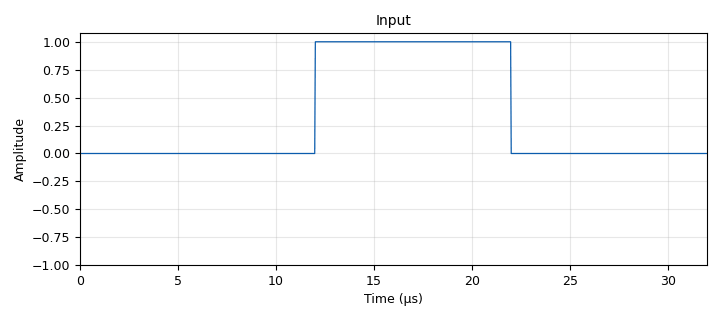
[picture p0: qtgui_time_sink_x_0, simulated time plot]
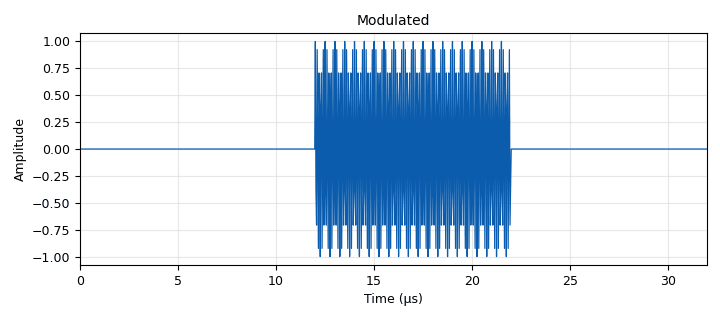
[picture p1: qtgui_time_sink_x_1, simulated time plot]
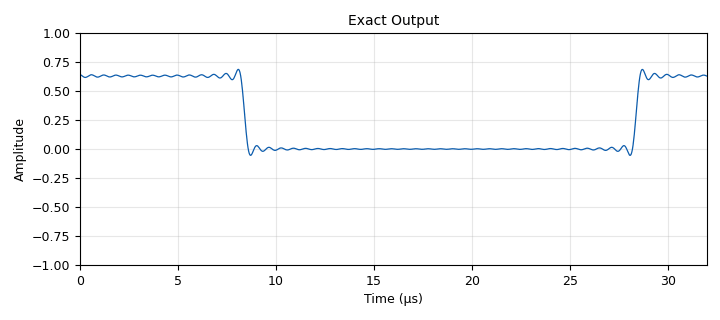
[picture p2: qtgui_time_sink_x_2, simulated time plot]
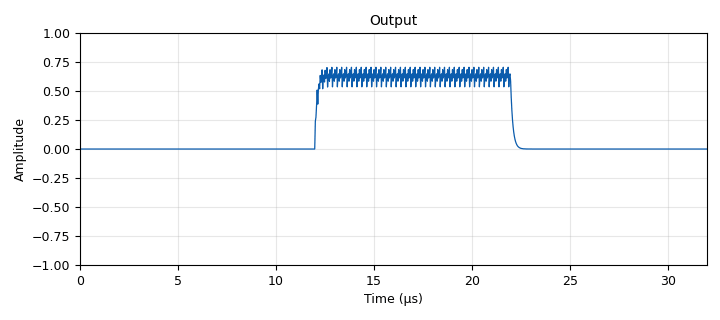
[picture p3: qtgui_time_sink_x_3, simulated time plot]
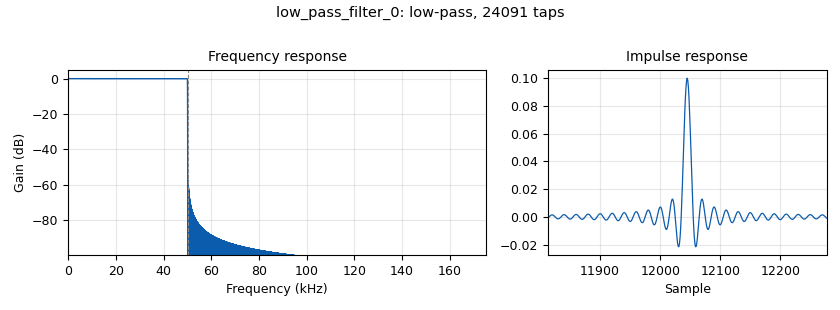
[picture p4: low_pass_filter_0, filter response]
<?xml version='1.0' encoding='utf-8'?>
<?grc format='1' created='3.7.11'?>
<flow_graph>
<block>
<key>options</key>
<param><key>id</key><value>top_block</value></param>
<param><key>category</key><value>Custom</value></param>
<param><key>generate_options</key><value>qt_gui</value></param>
</block>
<block>
<key>variable</key>
<param><key>id</key><value>samp_rate</value></param>
<param><key>value</key><value>1e6</value></param>
</block>
<block>
<key>variable</key>
<param><key>id</key><value>symbol_duration</value></param>
<param><key>value</key><value>0.1e-4</value></param>
</block>
<block>
<key>variable</key>
<param><key>id</key><value>target_freq</value></param>
<param><key>value</key><value>10e6</value></param>
</block>
<block>
<key>variable</key>
<param><key>id</key><value>target_rate</value></param>
<param><key>value</key><value>32e6</value></param>
</block>
<block>
<key>analog_sig_source_x</key>
<param><key>id</key><value>analog_sig_source_x_0</value></param>
<param><key>amp</key><value>1</value></param>
<param><key>freq</key><value>target_freq</value></param>
<param><key>offset</key><value>0</value></param>
<param><key>type</key><value>float</value></param>
<param><key>samp_rate</key><value>target_rate</value></param>
<param><key>waveform</key><value>analog.GR_COS_WAVE</value></param>
</block>
<block>
<key>blocks_multiply_xx</key>
<param><key>id</key><value>blocks_multiply_xx_0</value></param>
<param><key>type</key><value>float</value></param>
</block>
<block>
<key>blocks_repeat</key>
<param><key>id</key><value>blocks_repeat_0</value></param>
<param><key>interp</key><value>int(target_rate*symbol_duration)</value></param>
<param><key>type</key><value>float</value></param>
</block>
<block>
<key>blocks_throttle</key>
<param><key>id</key><value>blocks_throttle_2</value></param>
<param><key>samples_per_second</key><value>target_rate</value></param>
<param><key>type</key><value>float</value></param>
</block>
<block>
<key>blocks_vector_source_x</key>
<param><key>id</key><value>blocks_vector_source_x_0</value></param>
<param><key>type</key><value>float</value></param>
<param><key>repeat</key><value>True</value></param>
<param><key>vector</key><value>[0, 0, 1]</value></param>
</block>
<block>
<key>low_pass_filter</key>
<param><key>id</key><value>low_pass_filter_0</value></param>
<param><key>cutoff_freq</key><value>100000/2</value></param>
<param><key>decim</key><value>1</value></param>
<param><key>type</key><value>fir_filter_fff</value></param>
<param><key>gain</key><value>1</value></param>
<param><key>samp_rate</key><value>samp_rate</value></param>
<param><key>width</key><value>100</value></param>
<param><key>win</key><value>firdes.WIN_HAMMING</value></param>
</block>
<block>
<key>epy_block</key>
<param><key>id</key><value>lpf</value></param>
<param><key>_source_code</key><value>"""
Embedded Python Blocks:

Each time this file is saved, GRC will instantiate the first class it finds
to get ports and parameters of your block. The arguments to __init__  will
be the parameters. All of them are required to have default values!
"""

import numpy as np
from gnuradio import gr


class blk(gr.sync_block):  # other base classes are basic_block, decim_block, interp_block
    """Embedded Python Block example - a simple multiply const"""

    def __init__(self, fc=900.0, fs=32000.0):  # only default arguments here
        """arguments to this function show up as parameters in GRC"""
        gr.sync_block.__init__(
            self,
            name='Low Pass Filter',   # will show up in GRC
            in_sig=[np.float32],
            out_sig=[np.float32]
        )
        # if an attribute with the same name as a parameter is found,
        # a callback 
        self.fc = fc
        self.fs = fs

    def work(self, input_items, output_items):
        """Low Pass IIR Filter"""
        alpha = (2.0*np.pi*(self.fc/self.fs))/(2.0*np.pi*(self.fc/self.fs) + 1.0)

        output_items[0][0] = alpha*input_items[0][0]
        for i in range(1, len(output_items[0])):
            output_items[0][i] = output_items[0][i-1] + alpha*(input_items[0][i] - output_items[0][i-1])

        return len(output_items[0])
</value></param>
<param><key>fc</key><value>100000.0/2</value></param>
<param><key>fs</key><value>samp_rate</value></param>
</block>
<block>
<key>qtgui_time_sink_x</key>
<param><key>id</key><value>qtgui_time_sink_x_0</value></param>
<param><key>color1</key><value>"blue"</value></param>
<param><key>label1</key><value></value></param>
<param><key>name</key><value>Input</value></param>
<param><key>size</key><value>1024</value></param>
<param><key>srate</key><value>target_rate</value></param>
<param><key>type</key><value>float</value></param>
</block>
<block>
<key>qtgui_time_sink_x</key>
<param><key>id</key><value>qtgui_time_sink_x_1</value></param>
<param><key>color1</key><value>"blue"</value></param>
<param><key>label1</key><value></value></param>
<param><key>name</key><value>Modulated</value></param>
<param><key>size</key><value>1024</value></param>
<param><key>srate</key><value>target_rate</value></param>
<param><key>type</key><value>float</value></param>
</block>
<block>
<key>qtgui_time_sink_x</key>
<param><key>id</key><value>qtgui_time_sink_x_2</value></param>
<param><key>color1</key><value>"blue"</value></param>
<param><key>label1</key><value></value></param>
<param><key>name</key><value>Exact Output</value></param>
<param><key>size</key><value>1024</value></param>
<param><key>srate</key><value>target_rate</value></param>
<param><key>type</key><value>float</value></param>
</block>
<block>
<key>qtgui_time_sink_x</key>
<param><key>id</key><value>qtgui_time_sink_x_3</value></param>
<param><key>color1</key><value>"blue"</value></param>
<param><key>label1</key><value></value></param>
<param><key>name</key><value>Output</value></param>
<param><key>size</key><value>1024</value></param>
<param><key>srate</key><value>target_rate</value></param>
<param><key>type</key><value>float</value></param>
</block>
<block>
<key>epy_block</key>
<param><key>id</key><value>rectifier</value></param>
<param><key>_source_code</key><value>"""
Embedded Python Blocks:

Each time this file is saved, GRC will instantiate the first class it finds
to get ports and parameters of your block. The arguments to __init__  will
be the parameters. All of them are required to have default values!
"""

import numpy as np
from gnuradio import gr


class blk(gr.sync_block):  # other base classes are basic_block, decim_block, interp_block
    """Embedded Python Block example - a simple multiply const"""

    def __init__(self, gain=1.0, threshold=0.0):  # only default arguments here
        """arguments to this function show up as parameters in GRC"""
        gr.sync_block.__init__(
            self,
            name='Rectifier',   # will show up in GRC
            in_sig=[np.float32],
            out_sig=[np.float32]
        )
        self.gain = gain
        self.threshold = threshold

    def work(self, input_items, output_items):
        for i in range(0, len(input_items[0])):
            if input_items[0][i] &gt;= self.threshold:
                output_items[0][i]  = input_items[0][i] * self.gain
            else:
                if input_items[0][i] &lt;= -1*self.threshold:
                    output_items[0][i] = -1*input_items[0][i] * self.gain
        return len(output_items[0])
</value></param>
<param><key>gain</key><value>1.0</value></param>
<param><key>threshold</key><value>0.0</value></param>
</block>
<connection><source_block_id>analog_sig_source_x_0</source_block_id><sink_block_id>blocks_multiply_xx_0</sink_block_id><source_key>0</source_key><sink_key>1</sink_key></connection>
<connection><source_block_id>blocks_multiply_xx_0</source_block_id><sink_block_id>qtgui_time_sink_x_1</sink_block_id><source_key>0</source_key><sink_key>0</sink_key></connection>
<connection><source_block_id>blocks_multiply_xx_0</source_block_id><sink_block_id>rectifier</sink_block_id><source_key>0</source_key><sink_key>0</sink_key></connection>
<connection><source_block_id>blocks_repeat_0</source_block_id><sink_block_id>blocks_multiply_xx_0</sink_block_id><source_key>0</source_key><sink_key>0</sink_key></connection>
<connection><source_block_id>blocks_repeat_0</source_block_id><sink_block_id>qtgui_time_sink_x_0</sink_block_id><source_key>0</source_key><sink_key>0</sink_key></connection>
<connection><source_block_id>blocks_throttle_2</source_block_id><sink_block_id>blocks_repeat_0</sink_block_id><source_key>0</source_key><sink_key>0</sink_key></connection>
<connection><source_block_id>blocks_vector_source_x_0</source_block_id><sink_block_id>blocks_throttle_2</sink_block_id><source_key>0</source_key><sink_key>0</sink_key></connection>
<connection><source_block_id>low_pass_filter_0</source_block_id><sink_block_id>qtgui_time_sink_x_2</sink_block_id><source_key>0</source_key><sink_key>0</sink_key></connection>
<connection><source_block_id>lpf</source_block_id><sink_block_id>qtgui_time_sink_x_3</sink_block_id><source_key>0</source_key><sink_key>0</sink_key></connection>
<connection><source_block_id>rectifier</source_block_id><sink_block_id>low_pass_filter_0</sink_block_id><source_key>0</source_key><sink_key>0</sink_key></connection>
<connection><source_block_id>rectifier</source_block_id><sink_block_id>lpf</sink_block_id><source_key>0</source_key><sink_key>0</sink_key></connection>
</flow_graph>
